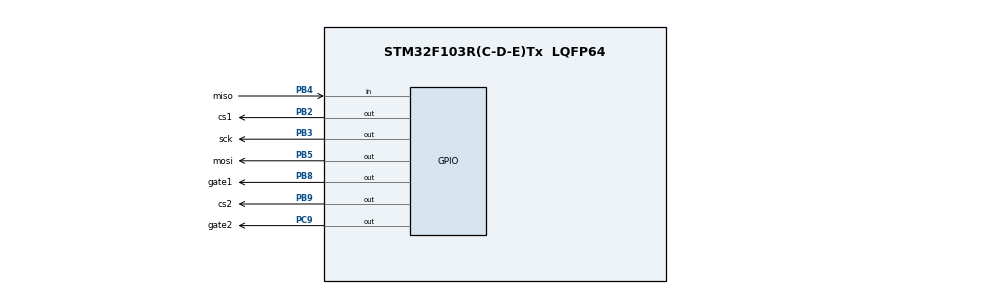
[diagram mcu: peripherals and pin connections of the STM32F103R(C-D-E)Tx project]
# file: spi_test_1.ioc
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Mcu.Family=STM32F1
Mcu.Name=STM32F103R(C-D-E)Tx
Mcu.Package=LQFP64
NVIC.PriorityGroup=NVIC_PRIORITYGROUP_4
PA13.Mode=Serial_Wire
PA13.Signal=SYS_JTMS-SWDIO
PA14.Mode=Serial_Wire
PA14.Signal=SYS_JTCK-SWCLK
PB2.GPIO_Label=cs1
PB2.PinState=GPIO_PIN_SET
PB2.Signal=GPIO_Output
PB3.GPIO_Label=sck
PB3.Signal=GPIO_Output
PB4.GPIO_Label=miso
PB4.Signal=GPIO_Input
PB5.GPIO_Label=mosi
PB5.Signal=GPIO_Output
PB8.GPIO_Label=gate1
PB8.PinState=GPIO_PIN_SET
PB8.Signal=GPIO_Output
PB9.GPIO_Label=cs2
PB9.PinState=GPIO_PIN_SET
PB9.Signal=GPIO_Output
PC9.GPIO_Label=gate2
PC9.Signal=GPIO_Output
PD0-OSC_IN.Mode=HSE-External-Oscillator
PD0-OSC_IN.Signal=RCC_OSC_IN
PD1-OSC_OUT.Mode=HSE-External-Oscillator
PD1-OSC_OUT.Signal=RCC_OSC_OUT
ProjectManager.HeapSize=0x200
ProjectManager.StackSize=0x400
ProjectManager.TargetToolchain=CMake
RCC.APB1Freq_Value=8000000
RCC.APB2Freq_Value=8000000
board=custom

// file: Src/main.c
/* USER CODE BEGIN Header */
/**
  ******************************************************************************
  * @file           : main.c
  * @brief          : Main program body
  ******************************************************************************
  * @attention
  *
  * Copyright (c) 2025 STMicroelectronics.
  * All rights reserved.
  *
  * This software is licensed under terms that can be found in the LICENSE file
  * in the root directory of this software component.
  * If no LICENSE file comes with this software, it is provided AS-IS.
  *
  ******************************************************************************
  */
/* USER CODE END Header */
#include "main.h"
#include "gpio.h"

/* USER CODE BEGIN PTD */
#define GPIO_PORT_SPI GPIOB
#define SPI_MOSI GPIO_PIN_5
#define SPI_MISO GPIO_PIN_4
#define SPI_SCK GPIO_PIN_3
#define SPI_CS GPIO_PIN_12
/* USER CODE END PTD */

/* USER CODE BEGIN PD */
// void SPI_GPIO_Transmit(uint16_t data, uint16_t* recv) { //第一边沿写入,第二边沿读取
//   HAL_GPIO_WritePin(GPIO_PORT_SPI, SPI_SCK, GPIO_PIN_RESET);
//   HAL_GPIO_WritePin(GPIO_PORT_SPI, SPI_MOSI, GPIO_PIN_RESET); //在发送之前拉低时钟和mosi
//   // HAL_GPIO_WritePin(GPIO_PORT_SPI, SPI_CS, RESET); //选中芯片
//   *recv = 0x00;
//   for (int i = 15; i >= 0; i--) {
//       // 写入 MSB 到 MOSI 引脚
//       if (data & (1 << i)) {
//           HAL_GPIO_WritePin(GPIO_PORT_SPI, SPI_MOSI, GPIO_PIN_SET);
//           HAL_GPIO_WritePin(GPIO_PORT_SPI, SPI_SCK, GPIO_PIN_SET);  // SCK 置高
//           // HAL_Delay(1);
//           HAL_GPIO_WritePin(GPIO_PORT_SPI, SPI_SCK, GPIO_PIN_RESET);  // SCK 置低
//           // HAL_Delay(1);
//           if (HAL_GPIO_ReadPin(GPIO_PORT_SPI, SPI_MISO) == GPIO_PIN_SET){
//             *recv = *recv | (1 << i);
//           }
//           else{
//             *recv = *recv | (0 << i);
//           }

//       } else {
//           HAL_GPIO_WritePin(GPIO_PORT_SPI, SPI_MOSI, GPIO_PIN_RESET);
//           HAL_GPIO_WritePin(GPIO_PORT_SPI, SPI_SCK, GPIO_PIN_SET);  // SCK 置高
//           // HAL_Delay(1);
//           HAL_GPIO_WritePin(GPIO_PORT_SPI, SPI_SCK, GPIO_PIN_RESET);  // SCK 置低
//           // HAL_Delay(1);
//           if (HAL_GPIO_ReadPin(GPIO_PORT_SPI, SPI_MISO) == GPIO_PIN_SET){
//             *recv = *recv | (1 << i);
//           }
//           else{
//             *recv = *recv | (0 << i);
//           }
//       }
//   }
// }
void SPI_GPIO_Transmit(uint16_t data, uint16_t* recv) { //第一边沿读取,第二边沿写入

  HAL_GPIO_WritePin(GPIO_PORT_SPI, SPI_SCK, GPIO_PIN_RESET);
  HAL_GPIO_WritePin(GPIO_PORT_SPI, SPI_MOSI, GPIO_PIN_RESET); //在发送之前拉低时钟和mosi
  // HAL_GPIO_WritePin(GPIO_PORT_SPI, SPI_CS, RESET); //选中芯片
  *recv = 0x00;
  for (int i = 15; i >= 0; i--) {
      // 写入 MSB 到 MOSI 引脚

      if (data & (1 << i)) {

          HAL_GPIO_WritePin(GPIO_PORT_SPI, SPI_SCK, GPIO_PIN_SET);  // SCK 置高
          // HAL_Delay(1);
          if (HAL_GPIO_ReadPin(GPIO_PORT_SPI, SPI_MISO) == GPIO_PIN_SET){
            *recv = *recv | (1 << i);
          }
          else{
            *recv = *recv | (0 << i);
          }
          HAL_GPIO_WritePin(GPIO_PORT_SPI, SPI_MOSI, GPIO_PIN_SET);
          HAL_GPIO_WritePin(GPIO_PORT_SPI, SPI_SCK, GPIO_PIN_RESET);  // SCK 置低
          // HAL_Delay(1);

      } else {

          HAL_GPIO_WritePin(GPIO_PORT_SPI, SPI_SCK, GPIO_PIN_SET);  // SCK 置高
          // HAL_Delay(1);
          if (HAL_GPIO_ReadPin(GPIO_PORT_SPI, SPI_MISO) == GPIO_PIN_SET){
            *recv = *recv | (1 << i);
          }
          else{
            *recv = *recv | (0 << i);
          }
          HAL_GPIO_WritePin(GPIO_PORT_SPI, SPI_MOSI, GPIO_PIN_RESET);
          HAL_GPIO_WritePin(GPIO_PORT_SPI, SPI_SCK, GPIO_PIN_RESET);  // SCK 置低
          // HAL_Delay(1);

      }
  }
}

void DRV8301_init(void){

  uint16_t spi_read_0 = 0x8000; //读取00
  uint16_t spi_read_1 = 0x8800; //读取01
  uint16_t spi_read_2 = 0x9000; //读取02
  uint16_t spi_read_3 = 0x9800; //读取03
  uint16_t spi_write_2 = 0x1600; //写入2寄存器
  uint16_t spi_write_3 = 0x1600; //写入3寄存器
  uint16_t spi_recv[1] = {6};
  HAL_GPIO_WritePin(gate1_GPIO_Port, gate1_Pin,GPIO_PIN_SET);
  HAL_GPIO_WritePin(gate2_GPIO_Port, gate2_Pin,GPIO_PIN_SET);
  HAL_GPIO_WritePin(cs1_GPIO_Port, cs1_Pin, GPIO_PIN_RESET);
  HAL_GPIO_WritePin(cs1_GPIO_Port, cs1_Pin, GPIO_PIN_SET);
  while (spi_recv[0] != 0x1600){
    HAL_GPIO_WritePin(cs1_GPIO_Port, cs1_Pin, GPIO_PIN_RESET);
    SPI_GPIO_Transmit(spi_write_2, spi_recv);
    HAL_GPIO_WritePin(cs1_GPIO_Port, cs1_Pin, GPIO_PIN_SET);
    HAL_GPIO_WritePin(cs1_GPIO_Port, cs1_Pin, GPIO_PIN_RESET);
    SPI_GPIO_Transmit(spi_read_2, spi_recv);
    HAL_GPIO_WritePin(cs1_GPIO_Port, cs1_Pin, GPIO_PIN_SET);
    HAL_GPIO_WritePin(cs1_GPIO_Port, cs1_Pin, GPIO_PIN_RESET);
    SPI_GPIO_Transmit(spi_read_2, spi_recv);
    HAL_GPIO_WritePin(cs1_GPIO_Port, cs1_Pin, GPIO_PIN_SET);
  }
  // spi_recv[0] = 6;

  // while (spi_recv[0] != 0x1600){
  //   HAL_GPIO_WritePin(cs2_GPIO_Port, cs2_Pin, RESET);
  //   SPI_GPIO_Transmit(spi_write_2, spi_recv);
  //   HAL_GPIO_WritePin(cs2_GPIO_Port, cs2_Pin, SET);
  //   HAL_GPIO_WritePin(cs2_GPIO_Port, cs2_Pin, RESET);
  //   SPI_GPIO_Transmit(spi_read_2, spi_recv);
  //   HAL_GPIO_WritePin(cs2_GPIO_Port, cs2_Pin, SET);
  //   HAL_GPIO_WritePin(cs2_GPIO_Port, cs2_Pin, RESET);
  //   SPI_GPIO_Transmit(spi_read_2, spi_recv);
  //   HAL_GPIO_WritePin(cs2_GPIO_Port, cs1_Pin, SET);
  // }
}
/* USER CODE END PD */

void SystemClock_Config(void);

int main(void)
{

  /* MCU Configuration--------------------------------------------------------*/

  /* Reset of all peripherals, Initializes the Flash interface and the Systick. */
  HAL_Init();

  /* Configure the system clock */
  SystemClock_Config();

  /* Initialize all configured peripherals */
  MX_GPIO_Init();
  /* USER CODE BEGIN 2 */
  // uint16_t spi_trans_1 = 0x9000;
  // uint16_t spi_trans_2 = 0x1600;  //只读寄存器0

  /* USER CODE END 2 */

  /* Infinite loop */
  /* USER CODE BEGIN WHILE */
  while (1)
  {

    DRV8301_init();

    HAL_Delay(100);

    /* USER CODE END WHILE */

  }
}

void SystemClock_Config(void)
{
  RCC_OscInitTypeDef RCC_OscInitStruct = {0};
  RCC_ClkInitTypeDef RCC_ClkInitStruct = {0};

  /** Initializes the RCC Oscillators according to the specified parameters
  * in the RCC_OscInitTypeDef structure.
  */
  RCC_OscInitStruct.OscillatorType = RCC_OSCILLATORTYPE_HSI;
  RCC_OscInitStruct.HSIState = RCC_HSI_ON;
  RCC_OscInitStruct.HSICalibrationValue = RCC_HSICALIBRATION_DEFAULT;
  RCC_OscInitStruct.PLL.PLLState = RCC_PLL_NONE;
  if (HAL_RCC_OscConfig(&RCC_OscInitStruct) != HAL_OK)
  {
    Error_Handler();
  }

  /** Initializes the CPU, AHB and APB buses clocks
  */
  RCC_ClkInitStruct.ClockType = RCC_CLOCKTYPE_HCLK|RCC_CLOCKTYPE_SYSCLK
                              |RCC_CLOCKTYPE_PCLK1|RCC_CLOCKTYPE_PCLK2;
  RCC_ClkInitStruct.SYSCLKSource = RCC_SYSCLKSOURCE_HSI;
  RCC_ClkInitStruct.AHBCLKDivider = RCC_SYSCLK_DIV1;
  RCC_ClkInitStruct.APB1CLKDivider = RCC_HCLK_DIV1;
  RCC_ClkInitStruct.APB2CLKDivider = RCC_HCLK_DIV1;

  if (HAL_RCC_ClockConfig(&RCC_ClkInitStruct, FLASH_LATENCY_0) != HAL_OK)
  {
    Error_Handler();
  }
}

void Error_Handler(void)
{
  __disable_irq();
  while (1)
  {
  }
}
